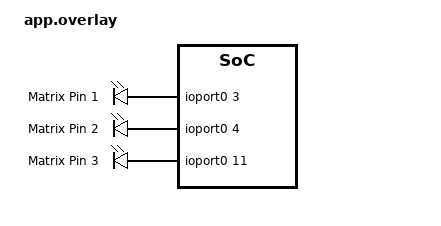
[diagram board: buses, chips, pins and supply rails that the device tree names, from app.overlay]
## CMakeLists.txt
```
# Copyright 2026 Pecos D. Willy
# SPDX-License-Identifier: Apache-2.0

cmake_minimum_required(VERSION 3.20.0)

find_package(Zephyr REQUIRED HINTS $ENV{ZEPHYR_BASE})
project(zephyr_d16_app)

target_sources(app PRIVATE src/main.c)
```

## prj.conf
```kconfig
# Copyright 2026 Pecos D. Willy
# SPDX-License-Identifier: Apache-2.0

CONFIG_GPIO=y
CONFIG_SERIAL=y
CONFIG_UART_INTERRUPT_DRIVEN=y
CONFIG_LOG=y
CONFIG_STDOUT_CONSOLE=y

# D16 Precision
CONFIG_FPU=y
CONFIG_CBPRINTF_FP_SUPPORT=y

# Uno Q Hardware Support
CONFIG_LED=y
# CONFIG_LED_MATRIX=y (No driver found, using GPIO overlay)

# --- USB Console (The Mouth) ---
# --- USB Console (The Mouth) ---
CONFIG_USB_DEVICE_STACK=y
CONFIG_USB_DEVICE_PRODUCT="D16 Hazard Guard 2.0"
CONFIG_CONSOLE=y
CONFIG_UART_CONSOLE=y
CONFIG_UART_LINE_CTRL=y

# Force Legacy Driver (Fixes HAL_PCD conflict)
CONFIG_USB_DEVICE_DRIVER=y
CONFIG_UDC_STM32=n
CONFIG_USB_DEVICE_STACK_NEXT=n

# Hubble BLE Network
CONFIG_HUBBLE_BLE_NETWORK=y
CONFIG_HUBBLE_NETWORK_KEY_128=y
CONFIG_HUBBLE_BLE_NETWORK_PSA=y

# Bluetooth Stack
CONFIG_BT=y
CONFIG_BT_PERIPHERAL=y
CONFIG_BT_DEVICE_NAME="Hubble"
CONFIG_BT_DEVICE_NAME_DYNAMIC=y
```

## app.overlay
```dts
/*
 * Overlay for Arduino Uno R4 WiFi (Uno Q)
 * Mapping Matrix Pins to D16 App "RGB" channels for visualization.
 * 
 * Matrix Pins (RA4M1):
 * P003, P004, P011, P012, P013, P015,
 * P103, P104, P105, P106, P107
 */

/ {
	leds {
		compatible = "gpio-leds";
		
		/* Mapping to Matrix Columns/Rows to create some output */
		/* Red Channel -> P003 (SCL/Matrix) */
		led3_red: led_matrix_1 {
			gpios = <&ioport0 3 GPIO_ACTIVE_HIGH>;
			label = "Matrix Pin 1";
		};

		/* Green Channel -> P004 (SDA/Matrix) */
		led3_green: led_matrix_2 {
			gpios = <&ioport0 4 GPIO_ACTIVE_HIGH>;
			label = "Matrix Pin 2";
		};

		/* Blue Channel -> P011 (Matrix) */
		led3_blue: led_matrix_3 {
			gpios = <&ioport0 11 GPIO_ACTIVE_HIGH>;
			label = "Matrix Pin 3";
		};
	};

	aliases {
		led-red = &led3_red;
		led-green = &led3_green;
		led-blue = &led3_blue;
	};
};
```

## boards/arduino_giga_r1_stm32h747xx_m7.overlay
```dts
/*
 * Copyright (c) 2024 Pecos D. Willy
 * SPDX-License-Identifier: Apache-2.0
 */

/* Map code's nodelabels (led3_red) to board's nodes (&red_led) */
led3_red: &red_led {};
led3_green: &green_led {};
led3_blue: &blue_led {};
```

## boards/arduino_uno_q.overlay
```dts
/*
 * Overlay for Arduino Uno Q (STM32U585)
 * Enables USB OTG FS for CDC ACM Console
 */

&usbotg_fs {
    status = "okay";
    cdc_acm_uart0: cdc_acm_uart0 {
        compatible = "zephyr,cdc-acm-uart";
    };
};

/ {
    chosen {
        zephyr,console = &cdc_acm_uart0;
        zephyr,shell-uart = &cdc_acm_uart0;
    };
};
```

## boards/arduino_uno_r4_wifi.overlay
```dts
/*
 * Overlay for Arduino Uno R4 WiFi (Uno Q)
 * Maps the application's expected RGB LEDs to Arduino headers.
 * This allows the code to build even if actual LEDs aren't connected yet.
 */

/ {
	leds_app {
		compatible = "gpio-leds";
		
		/* Mapping to Pins D6, D7, D8 for RGB */
		led3_red: led_3_red {
			gpios = <&arduino_header 6 GPIO_ACTIVE_HIGH>;
			label = "Spectral Red";
		};
		led3_green: led_3_green {
			gpios = <&arduino_header 7 GPIO_ACTIVE_HIGH>;
			label = "Spectral Green";
		};
		led3_blue: led_3_blue {
			gpios = <&arduino_header 8 GPIO_ACTIVE_HIGH>;
			label = "Spectral Blue";
		};
	};
};
```

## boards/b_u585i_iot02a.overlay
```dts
/*
 * Overlay for B_U585I_IOT02A (Acting as Uno Q / U585 Host)
 * Maps application's "led3_*" expectations to available board LEDs.
 */

/ {
    aliases {
        /* Map app aliases to board nodes found in common.dtsi */
        led3-red = &red_led_1;
        led3-green = &green_led_1;
        led3-blue = &user_button; /* Hack: Mocking blue LED on button pin direction if possible, else reusing red */
    };
};

/* 
 * Re-defining the application internal nodes that main.c looks for by label 
 * 'DT_NODELABEL(led3_red)' implies a node with global label 'led3_red'.
 */
/ {
    leds_app {
        compatible = "gpio-leds";
        led3_red: led_3_red_node {
            gpios = <&gpioc 0 GPIO_ACTIVE_HIGH>; /* Mock GPIO */
            label = "Spectral Red";
        };
        led3_green: led_3_green_node {
            gpios = <&gpioc 1 GPIO_ACTIVE_HIGH>; /* Mock GPIO */
            label = "Spectral Green";
        };
        led3_blue: led_3_blue_node {
            gpios = <&gpioc 2 GPIO_ACTIVE_HIGH>; /* Mock GPIO */
            label = "Spectral Blue";
        };
    };
};
```

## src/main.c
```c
/*
 * Copyright 2026 Pecos D. Willy
 * SPDX-License-Identifier: Apache-2.0
 */

#include <zephyr/kernel.h>
#include <zephyr/drivers/gpio.h>
#include <zephyr/logging/log.h>
#include <zephyr/usb/usb_device.h>
#include <zephyr/drivers/uart.h>
#include <zephyr/bluetooth/bluetooth.h>
#include <hubble/hubble.h>
#include <stdlib.h>
#include <math.h>

LOG_MODULE_REGISTER(d16_app, LOG_LEVEL_INF);

#define TAU 6.2831853f
#define SLEEP_TIME_MS 10

/* RGB LEDs from DeviceTree */
static const struct gpio_dt_spec led3_red = GPIO_DT_SPEC_GET(DT_NODELABEL(led3_red), gpios);
static const struct gpio_dt_spec led3_green = GPIO_DT_SPEC_GET(DT_NODELABEL(led3_green), gpios);
static const struct gpio_dt_spec led3_blue = GPIO_DT_SPEC_GET(DT_NODELABEL(led3_blue), gpios);

/* Global Bridge State */
static volatile float external_coherence = 0.0f;
static const struct device *const uart_dev = DEVICE_DT_GET(DT_CHOSEN(zephyr_console));

/* Hubble Network State */
static uint8_t hubble_key[16] = {0}; // Default 0-key for phase stabilization
static struct bt_data ad[] = {
	BT_DATA_BYTES(BT_DATA_FLAGS, (BT_LE_AD_GENERAL | BT_LE_AD_NO_BREDR)),
	BT_DATA_BYTES(BT_DATA_UUID16_ALL, 0xA6, 0xFC), // Hubble UUID 0xFCA6
	BT_DATA(BT_DATA_SVC_DATA16, NULL, 0), // Placeholder for Hubble Payload
};

/* Harmonic Oscillator (D7 Archetype) */
#define GRAVITY_G 9.80665f

struct HarmonicOscillator {
	float length_l;
	float period_t1;
	float period_t2;
};

static void oscillator_init(struct HarmonicOscillator *h, float length) {
	h->length_l = length;
	h->period_t1 = 0.0f;
	h->period_t2 = 0.0f;
}

static float drive_mass(struct HarmonicOscillator *h, float mass) {
	/* Mass affects Period T1 (simulated via log scaling) */
	/* Mass range: 1.0 (Zero Coherence) to 100.0 (High Coherence at 1.0) */
	float mass_factor = logf(fmaxf(mass, 1.0f)) * 0.1f; 
	h->period_t1 = (TAU * sqrtf(h->length_l / GRAVITY_G)) * (1.0f + mass_factor);
	return h->period_t1;
}

static float apply_entropy(struct HarmonicOscillator *h, float entropy) {
	/* Entropy affects Period T2 (Drag) */
	float drag_factor = entropy * 0.1f;
	h->period_t2 = (TAU * sqrtf(h->length_l / GRAVITY_G)) * (1.0f + drag_factor);
	return h->period_t2;
}

static bool check_stability(struct HarmonicOscillator *h, float tolerance) {
	return fabsf(h->period_t1 - h->period_t2) < tolerance;
}

/* Serial Callback */
#define RX_BUF_SIZE 32
static char rx_buf[RX_BUF_SIZE];
static int rx_pos = 0;

void serial_cb(const struct device *dev, void *user_data)
{
	uint8_t c;
	if (!uart_irq_update(dev)) {
		return;
	}

	if (uart_irq_rx_ready(dev)) {
		while (uart_fifo_read(dev, &c, 1) == 1) {
			if (c == '\n' || c == '\r') {
				rx_buf[rx_pos] = '\0';
				if (rx_pos > 2 && rx_buf[0] == 'C' && rx_buf[1] == ':') {
					external_coherence = strtof(&rx_buf[2], NULL);
				}
				rx_pos = 0;
			} else if (rx_pos < RX_BUF_SIZE - 1) {
				rx_buf[rx_pos++] = c;
			}
		}
	}
}

int main(void)
{
	LOG_INF("⚓ OMNI-TOOL: Zephyr D16 Firmware Active (Uno Q STM32U585) [Status: GREEN] 🌊");
	LOG_INF("🏎️  Initializing D16 Harmonic Pulse on RGB LEDs (Aliases: led3_red, led3_green, led3_blue)...");

	/* Enable USB Console */
	if (usb_enable(NULL)) {
		LOG_ERR("Failed to enable USB");
		return 0;
	}

	/* Initialize Serial Interrupt */
	if (!device_is_ready(uart_dev)) {
		LOG_ERR("UART device not found!");
		return 0;
	}
	uart_irq_callback_user_data_set(uart_dev, serial_cb, NULL);
	uart_irq_rx_enable(uart_dev);

	if (!gpio_is_ready_dt(&led3_red) || !gpio_is_ready_dt(&led3_green) || !gpio_is_ready_dt(&led3_blue)) {
		LOG_ERR("RGB LED devices not ready");
		return 0;
	}

	gpio_pin_configure_dt(&led3_red, GPIO_OUTPUT_ACTIVE);
	gpio_pin_configure_dt(&led3_green, GPIO_OUTPUT_ACTIVE);
	gpio_pin_configure_dt(&led3_blue, GPIO_OUTPUT_ACTIVE);

	/* Initialize Hubble Network SDK */
	if (hubble_init(0, hubble_key) != 0) {
		LOG_ERR("Failed to initialize Hubble SDK");
	} else {
		LOG_INF("🔭 Hubble SDK Initialized (Phase Stabilization Mode)");
	}

	/* Initialize Bluetooth */
	int err = bt_enable(NULL);
	if (err) {
		LOG_ERR("Bluetooth init failed (err %d)", err);
	} else {
		LOG_INF("Bluetooth initialized");
	}

	uint32_t moment = 0;
	uint8_t hubble_payload[32];
	uint8_t adv_payload[32];
	size_t adv_len = 0;
	
	/* Initialize Harmonic Oscillator */
	static struct HarmonicOscillator oscillator;
	oscillator_init(&oscillator, 0.993f); // Seconds pendulum approx

	while (1) {
		/* Hubble Phase Broadcast (Every 100ms) */
		if (moment % 10 == 0) {
			/* Pack Coherence into Hubble Payload */
			memcpy(hubble_payload, (void *)&external_coherence, sizeof(float));
			
			/* Get formatted advertisement payload from SDK */
			int ret = hubble_ble_advertise_get(hubble_payload, sizeof(float), adv_payload, &adv_len);
			if (ret == 0) {
				if (adv_len > 4) {
					ad[2].data_len = adv_len - 2; // Subtract Len and Type byte
					ad[2].data = &adv_payload[2]; // Start at UUID
					
					/* Update Advertisement (Non-Connectable Beacon) */
					err = bt_le_adv_start(BT_LE_ADV_NCONN, ad, ARRAY_SIZE(ad), NULL, 0);
					if (err && err != -EALREADY) {
						bt_le_adv_stop();
						bt_le_adv_start(BT_LE_ADV_NCONN, ad, ARRAY_SIZE(ad), NULL, 0);
					}
				}
			}
		}

		/* Calculate spectral intensity driven by TAU */
		float time = (float)moment * 0.01f; // 10ms steps
		
        /* 1. Drive Harmonic Mass (Coherence) */
        /* Scale: 0.0-1.0 coherence -> 1.0-100.0 Mass */
        drive_mass(&oscillator, 1.0f + (external_coherence * 100.0f));

        /* 2. Apply Entropy (Constant for now) */
        apply_entropy(&oscillator, 0.05f); // "Water" Stance Entropy

        /* 3. Check Stability (Resonance) */
        bool is_stable = check_stability(&oscillator, 0.02f);
		
		if (external_coherence > 1.2f) {
			is_stable = true; /* High coherence override */
		}

		if (is_stable) {
			/* Stability = White Light (Harmonic Resonance) */
			gpio_pin_set_dt(&led3_red, 1);
			gpio_pin_set_dt(&led3_green, 1);
			gpio_pin_set_dt(&led3_blue, 1);
		} else {
			/* Instability = Pulse at T1 Frequency */
            /* Frequency = 1.0 / T1 */
			/* Safe divide: T1 should never be 0, but good to check */
			float freq_mod = (oscillator.period_t1 > 0.0f) ? (1.0f / oscillator.period_t1) : 1.0f;
            
			/* Channel 1 (Red): Fundamental (T1) -> Modulated by Frequency */
			float val_r = (sinf(time * freq_mod * TAU) + 1.0f) / 2.0f;
			
			/* Channel 2 (Green): Harmonic (Perfect Fifth) */
			float val_g = (sinf(time * freq_mod * 1.5f * TAU) + 1.0f) / 2.0f;
			
			/* Channel 3 (Blue): Octave */
			float val_b = (sinf(time * freq_mod * 2.0f * TAU) + 1.0f) / 2.0f;

			gpio_pin_set_dt(&led3_red, val_r > 0.5f ? 1 : 0);
			gpio_pin_set_dt(&led3_green, val_g > 0.5f ? 1 : 0);
			gpio_pin_set_dt(&led3_blue, val_b > 0.5f ? 1 : 0);
		}
		
		moment++;
		k_msleep(SLEEP_TIME_MS);
	}
}
```
